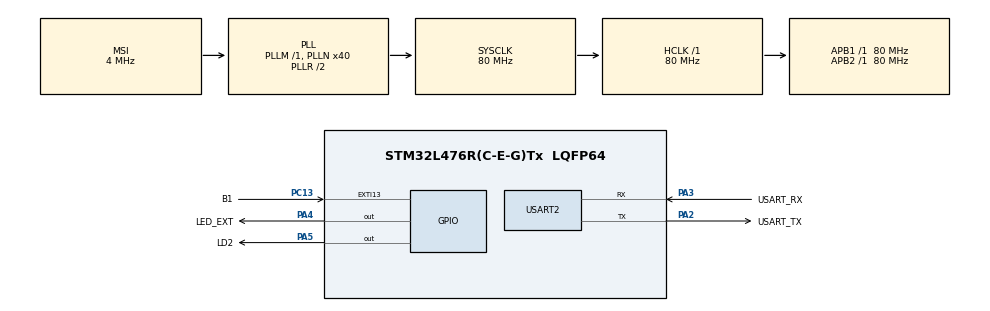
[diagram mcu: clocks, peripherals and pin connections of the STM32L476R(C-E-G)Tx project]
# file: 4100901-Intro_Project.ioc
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Mcu.Family=STM32L4
Mcu.Name=STM32L476R(C-E-G)Tx
Mcu.Package=LQFP64
NVIC.EXTI15_10_IRQn=true\:0\:0\:false\:false\:true\:true\:true\:true
NVIC.PriorityGroup=NVIC_PRIORITYGROUP_4
NVIC.USART2_IRQn=true\:0\:0\:false\:false\:true\:true\:true\:true
PA13\ (JTMS-SWDIO).GPIO_Label=TMS
PA13\ (JTMS-SWDIO).Mode=Serial_Wire
PA13\ (JTMS-SWDIO).Signal=SYS_JTMS-SWDIO
PA14\ (JTCK-SWCLK).GPIO_Label=TCK
PA14\ (JTCK-SWCLK).Mode=Serial_Wire
PA14\ (JTCK-SWCLK).Signal=SYS_JTCK-SWCLK
PA2.GPIO_Label=USART_TX
PA2.GPIO_Mode=GPIO_MODE_AF_PP
PA2.GPIO_PuPd=GPIO_NOPULL
PA2.GPIO_Speed=GPIO_SPEED_FREQ_VERY_HIGH
PA2.Mode=Asynchronous
PA2.Signal=USART2_TX
PA3.GPIO_Label=USART_RX
PA3.GPIO_Mode=GPIO_MODE_AF_PP
PA3.GPIO_PuPd=GPIO_NOPULL
PA3.GPIO_Speed=GPIO_SPEED_FREQ_VERY_HIGH
PA3.Mode=Asynchronous
PA3.Signal=USART2_RX
PA4.GPIO_Label=LED_EXT
PA4.Signal=GPIO_Output
PA5.GPIO_Label=LD2
PA5.Signal=GPIO_Output
PB3\ (JTDO-TRACESWO).GPIO_Label=SWO
PB3\ (JTDO-TRACESWO).Signal=SYS_JTDO-SWO
PC13.GPIO_Label=B1
PC13.GPIO_ModeDefaultEXTI=GPIO_MODE_IT_FALLING
PC13.GPIO_PuPd=GPIO_NOPULL
PC13.Signal=GPXTI13
PC14-OSC32_IN\ (PC14).Mode=LSE-External-Oscillator
PC14-OSC32_IN\ (PC14).Signal=RCC_OSC32_IN
PC15-OSC32_OUT\ (PC15).Mode=LSE-External-Oscillator
PC15-OSC32_OUT\ (PC15).Signal=RCC_OSC32_OUT
PH0-OSC_IN\ (PH0).Signal=RCC_OSC_IN
PH1-OSC_OUT\ (PH1).Signal=RCC_OSC_OUT
ProjectManager.HeapSize=0x200
ProjectManager.StackSize=0x400
ProjectManager.TargetToolchain=CMake
RCC.ADCFreq_Value=16000000
RCC.AHBFreq_Value=80000000
RCC.APB1Freq_Value=80000000
RCC.APB1TimFreq_Value=80000000
RCC.APB2Freq_Value=80000000
RCC.APB2TimFreq_Value=80000000
RCC.CortexFreq_Value=80000000
RCC.HCLKFreq_Value=80000000
RCC.HSE_VALUE=8000000
RCC.HSI_VALUE=16000000
RCC.MSI_VALUE=4000000
RCC.PLLN=40
RCC.PREFETCH_ENABLE=1
RCC.SYSCLKFreq_VALUE=80000000
RCC.SYSCLKSource=RCC_SYSCLKSOURCE_PLLCLK
RCC.USBFreq_Value=16000000
RCC.VCOOutputFreq_Value=160000000
USART2.VirtualMode-Asynchronous=VM_ASYNC
board=NUCLEO-L476RG

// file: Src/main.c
/* USER CODE BEGIN Header */
/**
  ******************************************************************************
  * @file           : main.c
  * @brief          : Main program body
  ******************************************************************************
  * @attention
  *
  * Copyright (c) 2025 STMicroelectronics.
  * All rights reserved.
  *
  * This software is licensed under terms that can be found in the LICENSE file
  * in the root directory of this software component.
  * If no LICENSE file comes with this software, it is provided AS-IS.
  *
  ******************************************************************************
  */
/* USER CODE END Header */
#include "main.h"
#include "usart.h"
#include "gpio.h"

/* USER CODE BEGIN Includes */
#include <stdio.h> // Para usar sprintf
#include <string.h> // Para usar strlen
/* USER CODE END Includes */

/* USER CODE BEGIN PV */
// Variables para UART
uint8_t rx_data; // Buffer para recibir 1 byte por UART
char tx_buffer[50]; // Buffer para transmitir mensajes por UART

// Variables para el botón y LED externo
volatile uint8_t button_flag = 0; // Flag para indicar que el botón fue presionado (volatile porque se modifica en interrupción)
volatile uint32_t led_ext_off_time = 0; // Momento en que se debe apagar el LED externo
/* USER CODE END PV */

void SystemClock_Config(void);

/* USER CODE BEGIN 0 */
// Callback que se ejecuta cuando se completa la recepción de 1 byte por UART2
void HAL_UART_RxCpltCallback(UART_HandleTypeDef *huart)
{
  if (huart->Instance == USART2)
  {
    // Hacemos eco del caracter recibido
    HAL_UART_Transmit(&huart2, &rx_data, 1, 10); // Enviar el byte recibido de vuelta

    // Volvemos a habilitar la interrupción de recepción UART para el próximo byte
    HAL_UART_Receive_IT(&huart2, &rx_data, 1);
  }
}
/* USER CODE END 0 */

int main(void)
{

  /* MCU Configuration--------------------------------------------------------*/

  /* Reset of all peripherals, Initializes the Flash interface and the Systick. */
  HAL_Init();

  /* Configure the system clock */
  SystemClock_Config();

  /* Initialize all configured peripherals */
  MX_GPIO_Init();
  MX_USART2_UART_Init();
  /* USER CODE BEGIN 2 */
  // Habilitar la recepción UART por interrupción por primera vez
  HAL_UART_Receive_IT(&huart2, &rx_data, 1);

  // Mensaje de bienvenida por UART-------------------------------------------------ACA INICIA
  char *welcome_msg = "Sistema de Control Basico - Listo\r\n";
  HAL_UART_Transmit(&huart2, (uint8_t*)welcome_msg, strlen(welcome_msg), 100);

  /* USER CODE END 2 */

  /* Infinite loop */
  while (1)
  {

    /* USER CODE BEGIN 3 */
    // ---- Heartbeat LED ----
    static uint32_t last_heartbeat_time = 0;
    static uint32_t tiempo = 1000;
    static uint32_t estado = 0;

    if (HAL_GetTick() - last_heartbeat_time >= tiempo) // Cada 500 ms  //Realice algo cada cierto tiempo
    {
      HAL_GPIO_TogglePin(LD2_GPIO_Port, LD2_Pin); // Cambia el estado del LED LD2   //Cambiar el estado de un pin
      last_heartbeat_time = HAL_GetTick();
    }

    // ---- Procesamiento del Botón ----
    if (button_flag == 1)
    {
      if (estado==0){
        estado=1;
        tiempo=50;
      }
      else{
        estado=0;
        tiempo=1000;
      }

      // 1. Encender LED Externo
      HAL_GPIO_WritePin(LED_EXT_GPIO_Port, LED_EXT_Pin, GPIO_PIN_SET); // Enciende LED_EXT

      // 2. Calcular cuándo apagarlo (5 segundos desde ahora)
      led_ext_off_time = HAL_GetTick() + 5000;

      // 3. Enviar mensaje por UART
      sprintf(tx_buffer, "LED EXT ON, LED INT PARPADEA MAS RAPIDO.\r\n");  //Asigna nuevo valor al buffer
      HAL_UART_Transmit(&huart2, (uint8_t*)tx_buffer, strlen(tx_buffer), 100);

      // 4. Limpiar el flag
      button_flag = 0;
    }

    // ---- Control del Apagado del LED Externo ----
    // Si el tiempo de apagado es distinto de 0 (significa que está programado)
    // y ya hemos alcanzado o superado ese tiempo...
    if (led_ext_off_time != 0 && HAL_GetTick() >= led_ext_off_time)
    {
      // 1. Apagar el LED
      HAL_GPIO_WritePin(LED_EXT_GPIO_Port, LED_EXT_Pin, GPIO_PIN_RESET); // Apaga LED_EXT

      // 2. Enviar mensaje por UART (opcional)
      sprintf(tx_buffer, "LED EXT OFF (timeout).\r\n");
      HAL_UART_Transmit(&huart2, (uint8_t*)tx_buffer, strlen(tx_buffer), 100);

      // 3. Resetear el tiempo de apagado a 0 (para no volver a apagarlo)
      led_ext_off_time = 0;
    }

  } // Fin del while(1)

  /* USER CODE END 3 */
}

void SystemClock_Config(void)
{
  RCC_OscInitTypeDef RCC_OscInitStruct = {0};
  RCC_ClkInitTypeDef RCC_ClkInitStruct = {0};

  /** Configure the main internal regulator output voltage
  */
  if (HAL_PWREx_ControlVoltageScaling(PWR_REGULATOR_VOLTAGE_SCALE1) != HAL_OK)
  {
    Error_Handler();
  }

  /** Configure LSE Drive Capability
  */
  HAL_PWR_EnableBkUpAccess();
  __HAL_RCC_LSEDRIVE_CONFIG(RCC_LSEDRIVE_LOW);

  /** Initializes the RCC Oscillators according to the specified parameters
  * in the RCC_OscInitTypeDef structure.
  */
  RCC_OscInitStruct.OscillatorType = RCC_OSCILLATORTYPE_LSE|RCC_OSCILLATORTYPE_MSI;
  RCC_OscInitStruct.LSEState = RCC_LSE_ON;
  RCC_OscInitStruct.MSIState = RCC_MSI_ON;
  RCC_OscInitStruct.MSICalibrationValue = 0;
  RCC_OscInitStruct.MSIClockRange = RCC_MSIRANGE_6;
  RCC_OscInitStruct.PLL.PLLState = RCC_PLL_ON;
  RCC_OscInitStruct.PLL.PLLSource = RCC_PLLSOURCE_MSI;
  RCC_OscInitStruct.PLL.PLLM = 1;
  RCC_OscInitStruct.PLL.PLLN = 40;
  RCC_OscInitStruct.PLL.PLLP = RCC_PLLP_DIV7;
  RCC_OscInitStruct.PLL.PLLQ = RCC_PLLQ_DIV2;
  RCC_OscInitStruct.PLL.PLLR = RCC_PLLR_DIV2;
  if (HAL_RCC_OscConfig(&RCC_OscInitStruct) != HAL_OK)
  {
    Error_Handler();
  }

  /** Initializes the CPU, AHB and APB buses clocks
  */
  RCC_ClkInitStruct.ClockType = RCC_CLOCKTYPE_HCLK|RCC_CLOCKTYPE_SYSCLK
                              |RCC_CLOCKTYPE_PCLK1|RCC_CLOCKTYPE_PCLK2;
  RCC_ClkInitStruct.SYSCLKSource = RCC_SYSCLKSOURCE_PLLCLK;
  RCC_ClkInitStruct.AHBCLKDivider = RCC_SYSCLK_DIV1;
  RCC_ClkInitStruct.APB1CLKDivider = RCC_HCLK_DIV1;
  RCC_ClkInitStruct.APB2CLKDivider = RCC_HCLK_DIV1;

  if (HAL_RCC_ClockConfig(&RCC_ClkInitStruct, FLASH_LATENCY_4) != HAL_OK)
  {
    Error_Handler();
  }

  /** Enable MSI Auto calibration
  */
  HAL_RCCEx_EnableMSIPLLMode();
}

/* USER CODE BEGIN 4 */
// Callback que se ejecuta cuando ocurre una interrupción externa (Botón B1)
void HAL_GPIO_EXTI_Callback(uint16_t GPIO_Pin)
{
  static uint32_t last_press_time = 0; // Guarda el tick de la última pulsación válida
  uint32_t current_time = HAL_GetTick(); // Obtiene el tiempo actual en ms

  if (GPIO_Pin == B1_Pin) // Nos aseguramos que la interrupción es del B1
  {
    // Debounce sencillo: ignorar si han pasado menos de 200ms desde la última vez
    if (current_time - last_press_time > 200)
    {
      button_flag = 1; // Activamos el flag para que el bucle principal lo procese
      last_press_time = current_time; // Actualizamos el tiempo de la última pulsación válida
    }
  }
}
/* USER CODE END 4 */

void Error_Handler(void)
{
  __disable_irq();
  while (1)
  {
  }
}
